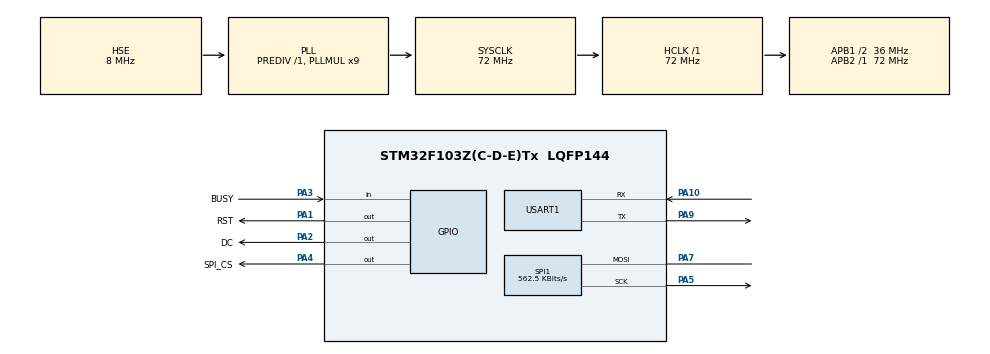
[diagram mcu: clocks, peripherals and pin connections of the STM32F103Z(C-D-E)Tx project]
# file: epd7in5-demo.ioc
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Mcu.Family=STM32F1
Mcu.Name=STM32F103Z(C-D-E)Tx
Mcu.Package=LQFP144
NVIC.PriorityGroup=NVIC_PRIORITYGROUP_4
OSC_IN.Mode=HSE-External-Oscillator
OSC_IN.Signal=RCC_OSC_IN
OSC_OUT.Mode=HSE-External-Oscillator
OSC_OUT.Signal=RCC_OSC_OUT
PA1.GPIO_Label=RST
PA1.Signal=GPIO_Output
PA10.Mode=Asynchronous
PA10.Signal=USART1_RX
PA2.GPIO_Label=DC
PA2.Signal=GPIO_Output
PA3.GPIO_Label=BUSY
PA3.Signal=GPIO_Input
PA4.GPIO_Label=SPI_CS
PA4.PinState=GPIO_PIN_RESET
PA4.Signal=GPIO_Output
PA5.Mode=Simplex_Bidirectional_Master
PA5.Signal=SPI1_SCK
PA7.Mode=Simplex_Bidirectional_Master
PA7.Signal=SPI1_MOSI
PA9.Mode=Asynchronous
PA9.Signal=USART1_TX
ProjectManager.HeapSize=0x8000
ProjectManager.StackSize=0x1000
ProjectManager.TargetToolchain=MDK-ARM V5
RCC.AHBFreq_Value=72000000
RCC.APB1CLKDivider=RCC_HCLK_DIV2
RCC.APB1Freq_Value=36000000
RCC.APB1TimFreq_Value=72000000
RCC.APB2Freq_Value=72000000
RCC.APB2TimFreq_Value=72000000
RCC.HCLKFreq_Value=72000000
RCC.PLLMUL=RCC_PLL_MUL9
RCC.PLLSourceVirtual=RCC_PLLSOURCE_HSE
RCC.SYSCLKFreq_VALUE=72000000
RCC.SYSCLKSource=RCC_SYSCLKSOURCE_PLLCLK
RCC.USBFreq_Value=72000000
SPI1.BaudRatePrescaler=SPI_BAUDRATEPRESCALER_128
SPI1.CLKPhase=SPI_PHASE_1EDGE
SPI1.CLKPolarity=SPI_POLARITY_LOW
SPI1.CalculateBaudRate=562.5 KBits/s
SPI1.Direction=SPI_DIRECTION_1LINE
SPI1.Mode=SPI_MODE_MASTER
SPI1.VirtualType=VM_MASTER
USART1.VirtualMode=VM_ASYNC
VP_SYS_VS_ND.Mode=No_Debug
board=epd7in5-demo

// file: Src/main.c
/**
  ******************************************************************************
  * File Name          : main.c
  * Description        : Main program body
  ******************************************************************************
  ** This notice applies to any and all portions of this file
  * that are not between comment pairs USER CODE BEGIN and
  * USER CODE END. Other portions of this file, whether
  * inserted by the user or by software development tools
  * are owned by their respective copyright owners.
  *
  * COPYRIGHT(c) 2017 STMicroelectronics
  *
  * Redistribution and use in source and binary forms, with or without modification,
  * are permitted provided that the following conditions are met:
  *   1. Redistributions of source code must retain the above copyright notice,
  *      this list of conditions and the following disclaimer.
  *   2. Redistributions in binary form must reproduce the above copyright notice,
  *      this list of conditions and the following disclaimer in the documentation
  *      and/or other materials provided with the distribution.
  *   3. Neither the name of STMicroelectronics nor the names of its contributors
  *      may be used to endorse or promote products derived from this software
  *      without specific prior written permission.
  *
  * THIS SOFTWARE IS PROVIDED BY THE COPYRIGHT HOLDERS AND CONTRIBUTORS "AS IS"
  * AND ANY EXPRESS OR IMPLIED WARRANTIES, INCLUDING, BUT NOT LIMITED TO, THE
  * IMPLIED WARRANTIES OF MERCHANTABILITY AND FITNESS FOR A PARTICULAR PURPOSE ARE
  * DISCLAIMED. IN NO EVENT SHALL THE COPYRIGHT HOLDER OR CONTRIBUTORS BE LIABLE
  * FOR ANY DIRECT, INDIRECT, INCIDENTAL, SPECIAL, EXEMPLARY, OR CONSEQUENTIAL
  * DAMAGES (INCLUDING, BUT NOT LIMITED TO, PROCUREMENT OF SUBSTITUTE GOODS OR
  * SERVICES; LOSS OF USE, DATA, OR PROFITS; OR BUSINESS INTERRUPTION) HOWEVER
  * CAUSED AND ON ANY THEORY OF LIABILITY, WHETHER IN CONTRACT, STRICT LIABILITY,
  * OR TORT (INCLUDING NEGLIGENCE OR OTHERWISE) ARISING IN ANY WAY OUT OF THE USE
  * OF THIS SOFTWARE, EVEN IF ADVISED OF THE POSSIBILITY OF SUCH DAMAGE.
  *
  ******************************************************************************
  */
#include "main.h"
#include "stm32f1xx_hal.h"

/* USER CODE BEGIN Includes */
#include "epd7in5.h"
#include "epdif.h"
#include "epdpaint.h"
#include "imagedata.h"
#include <stdlib.h>
/* USER CODE END Includes */

SPI_HandleTypeDef hspi1;

UART_HandleTypeDef huart1;

/* USER CODE BEGIN PV */
/* Private variables ---------------------------------------------------------*/
#define COLORED      1
#define UNCOLORED    0
/* USER CODE END PV */

void SystemClock_Config(void);
static void MX_GPIO_Init(void);
static void MX_USART1_UART_Init(void);
static void MX_SPI1_Init(void);

/* USER CODE BEGIN PFP */
/* Private function prototypes -----------------------------------------------*/

/* USER CODE END PFP */

int main(void)
{

  /* USER CODE BEGIN 1 */
  /* you have to edit the startup_stm32fxxx.s file and set a big enough heap size */
  unsigned char* frame_buffer = (unsigned char*)malloc(EPD_WIDTH * EPD_HEIGHT / 8);
  /* USER CODE END 1 */

  /* MCU Configuration----------------------------------------------------------*/

  /* Reset of all peripherals, Initializes the Flash interface and the Systick. */
  HAL_Init();

  /* Configure the system clock */
  SystemClock_Config();

  /* Initialize all configured peripherals */
  MX_GPIO_Init();
  MX_USART1_UART_Init();
  MX_SPI1_Init();

  /* USER CODE BEGIN 2 */
  EPD epd;
  if (EPD_Init(&epd) != 0) {
    printf("e-Paper init failed\n");
    return -1;
  }

  Paint paint;
  Paint_Init(&paint, frame_buffer, epd.width, epd.height);
  Paint_Clear(&paint, UNCOLORED);

  /* Draw something to the frame_buffer */
  /* For simplicity, the arguments are explicit numerical coordinates */
  Paint_SetRotate(&paint, ROTATE_90);
  Paint_DrawRectangle(&paint, 20, 80, 180, 280, COLORED);
  Paint_DrawLine(&paint, 20, 80, 180, 280, COLORED);
  Paint_DrawLine(&paint, 180, 80, 20, 280, COLORED);
  Paint_DrawFilledRectangle(&paint, 200, 80, 360, 280, COLORED);
  Paint_DrawCircle(&paint, 300, 160, 60, UNCOLORED);
  Paint_DrawFilledCircle(&paint, 90, 210, 30, COLORED);

  /*Write strings to the buffer */
  Paint_DrawFilledRectangle(&paint, 0, 6, 384, 30, COLORED);
  Paint_DrawStringAt(&paint, 100, 10, "Hello world!", &Font24, UNCOLORED);
  Paint_DrawStringAt(&paint, 100, 40, "e-Paper Demo", &Font24, COLORED);

  /* Display the frame buffer */
  EPD_DisplayFrame(&epd, frame_buffer);

  /* Display the image buffer */
  EPD_DisplayFrame(&epd, IMAGE_DATA);
  /* USER CODE END 2 */

  /* Infinite loop */
  while (1)
  {

  }

}

/** System Clock Configuration
*/
void SystemClock_Config(void)
{

  RCC_OscInitTypeDef RCC_OscInitStruct;
  RCC_ClkInitTypeDef RCC_ClkInitStruct;

    /**Initializes the CPU, AHB and APB busses clocks
    */
  RCC_OscInitStruct.OscillatorType = RCC_OSCILLATORTYPE_HSE;
  RCC_OscInitStruct.HSEState = RCC_HSE_ON;
  RCC_OscInitStruct.HSEPredivValue = RCC_HSE_PREDIV_DIV1;
  RCC_OscInitStruct.HSIState = RCC_HSI_ON;
  RCC_OscInitStruct.PLL.PLLState = RCC_PLL_ON;
  RCC_OscInitStruct.PLL.PLLSource = RCC_PLLSOURCE_HSE;
  RCC_OscInitStruct.PLL.PLLMUL = RCC_PLL_MUL9;
  if (HAL_RCC_OscConfig(&RCC_OscInitStruct) != HAL_OK)
  {
    _Error_Handler(__FILE__, __LINE__);
  }

    /**Initializes the CPU, AHB and APB busses clocks
    */
  RCC_ClkInitStruct.ClockType = RCC_CLOCKTYPE_HCLK|RCC_CLOCKTYPE_SYSCLK
                              |RCC_CLOCKTYPE_PCLK1|RCC_CLOCKTYPE_PCLK2;
  RCC_ClkInitStruct.SYSCLKSource = RCC_SYSCLKSOURCE_PLLCLK;
  RCC_ClkInitStruct.AHBCLKDivider = RCC_SYSCLK_DIV1;
  RCC_ClkInitStruct.APB1CLKDivider = RCC_HCLK_DIV2;
  RCC_ClkInitStruct.APB2CLKDivider = RCC_HCLK_DIV1;

  if (HAL_RCC_ClockConfig(&RCC_ClkInitStruct, FLASH_LATENCY_2) != HAL_OK)
  {
    _Error_Handler(__FILE__, __LINE__);
  }

    /**Configure the Systick interrupt time
    */
  HAL_SYSTICK_Config(HAL_RCC_GetHCLKFreq()/1000);

    /**Configure the Systick
    */
  HAL_SYSTICK_CLKSourceConfig(SYSTICK_CLKSOURCE_HCLK);

  /* SysTick_IRQn interrupt configuration */
  HAL_NVIC_SetPriority(SysTick_IRQn, 0, 0);
}

/* SPI1 init function */
static void MX_SPI1_Init(void)
{

  hspi1.Instance = SPI1;
  hspi1.Init.Mode = SPI_MODE_MASTER;
  hspi1.Init.Direction = SPI_DIRECTION_1LINE;
  hspi1.Init.DataSize = SPI_DATASIZE_8BIT;
  hspi1.Init.CLKPolarity = SPI_POLARITY_LOW;
  hspi1.Init.CLKPhase = SPI_PHASE_1EDGE;
  hspi1.Init.NSS = SPI_NSS_SOFT;
  hspi1.Init.BaudRatePrescaler = SPI_BAUDRATEPRESCALER_128;
  hspi1.Init.FirstBit = SPI_FIRSTBIT_MSB;
  hspi1.Init.TIMode = SPI_TIMODE_DISABLE;
  hspi1.Init.CRCCalculation = SPI_CRCCALCULATION_DISABLE;
  hspi1.Init.CRCPolynomial = 10;
  if (HAL_SPI_Init(&hspi1) != HAL_OK)
  {
    _Error_Handler(__FILE__, __LINE__);
  }

}

/* USART1 init function */
static void MX_USART1_UART_Init(void)
{

  huart1.Instance = USART1;
  huart1.Init.BaudRate = 115200;
  huart1.Init.WordLength = UART_WORDLENGTH_8B;
  huart1.Init.StopBits = UART_STOPBITS_1;
  huart1.Init.Parity = UART_PARITY_NONE;
  huart1.Init.Mode = UART_MODE_TX_RX;
  huart1.Init.HwFlowCtl = UART_HWCONTROL_NONE;
  huart1.Init.OverSampling = UART_OVERSAMPLING_16;
  if (HAL_UART_Init(&huart1) != HAL_OK)
  {
    _Error_Handler(__FILE__, __LINE__);
  }

}

/** Configure pins as
        * Analog
        * Input
        * Output
        * EVENT_OUT
        * EXTI
*/
static void MX_GPIO_Init(void)
{

  GPIO_InitTypeDef GPIO_InitStruct;

  /* GPIO Ports Clock Enable */
  __HAL_RCC_GPIOA_CLK_ENABLE();

  /*Configure GPIO pin Output Level */
  HAL_GPIO_WritePin(GPIOA, RST_Pin|DC_Pin|SPI_CS_Pin, GPIO_PIN_RESET);

  /*Configure GPIO pins : RST_Pin DC_Pin SPI_CS_Pin */
  GPIO_InitStruct.Pin = RST_Pin|DC_Pin|SPI_CS_Pin;
  GPIO_InitStruct.Mode = GPIO_MODE_OUTPUT_PP;
  GPIO_InitStruct.Speed = GPIO_SPEED_FREQ_LOW;
  HAL_GPIO_Init(GPIOA, &GPIO_InitStruct);

  /*Configure GPIO pin : BUSY_Pin */
  GPIO_InitStruct.Pin = BUSY_Pin;
  GPIO_InitStruct.Mode = GPIO_MODE_INPUT;
  GPIO_InitStruct.Pull = GPIO_NOPULL;
  HAL_GPIO_Init(BUSY_GPIO_Port, &GPIO_InitStruct);

}

/* USER CODE BEGIN 4 */
#ifdef __GNUC__
  /* With GCC/RAISONANCE, small printf (option LD Linker->Libraries->Small printf
     set to 'Yes') calls __io_putchar() */
  #define PUTCHAR_PROTOTYPE int __io_putchar(int ch)
#else
  #define PUTCHAR_PROTOTYPE int fputc(int ch, FILE *f)
#endif /* __GNUC__ */
/**
  * @brief  Retargets the C library printf function to the USART.
  * @param  None
  * @retval None
  */
PUTCHAR_PROTOTYPE
{
  /* Place your implementation of fputc here */
  /* e.g. write a character to the EVAL_COM1 and Loop until the end of transmission */
  HAL_UART_Transmit(&huart1, (uint8_t *)&ch, 1, 0xFFFF);

  return ch;
}
/* USER CODE END 4 */

void _Error_Handler(char * file, int line)
{
  while(1)
  {
  }
}

/************************ (C) COPYRIGHT STMicroelectronics *****END OF FILE****/
